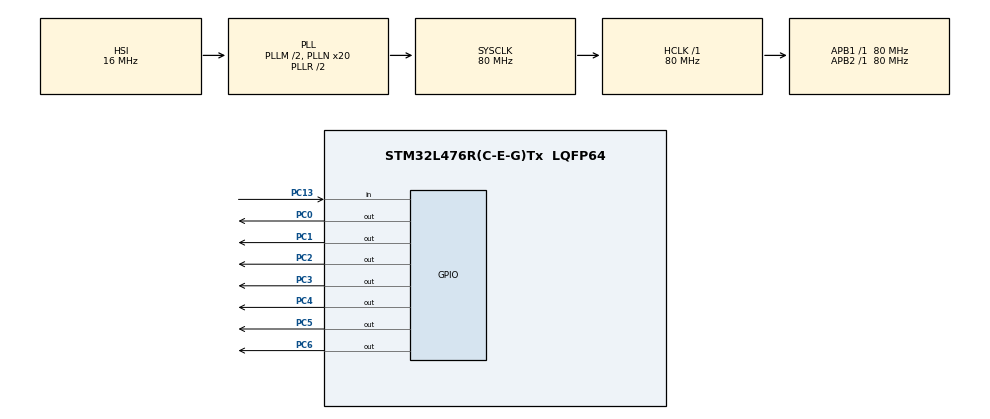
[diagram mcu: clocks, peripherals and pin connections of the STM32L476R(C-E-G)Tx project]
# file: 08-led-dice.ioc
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Mcu.Family=STM32L4
Mcu.Name=STM32L476R(C-E-G)Tx
Mcu.Package=LQFP64
NVIC.PriorityGroup=NVIC_PRIORITYGROUP_4
PC0.Signal=GPIO_Output
PC1.Signal=GPIO_Output
PC13.Signal=GPIO_Input
PC2.Signal=GPIO_Output
PC3.Signal=GPIO_Output
PC4.Signal=GPIO_Output
PC5.Signal=GPIO_Output
PC6.Signal=GPIO_Output
ProjectManager.HeapSize=0x200
ProjectManager.StackSize=0x400
ProjectManager.TargetToolchain=STM32CubeIDE
RCC.ADCFreq_Value=32000000
RCC.AHBFreq_Value=80000000
RCC.APB1Freq_Value=80000000
RCC.APB1TimFreq_Value=80000000
RCC.APB2Freq_Value=80000000
RCC.APB2TimFreq_Value=80000000
RCC.CortexFreq_Value=80000000
RCC.HCLKFreq_Value=80000000
RCC.HSE_VALUE=8000000
RCC.HSI_VALUE=16000000
RCC.MSI_VALUE=4000000
RCC.PLLM=2
RCC.PLLN=20
RCC.PLLSourceVirtual=RCC_PLLSOURCE_HSI
RCC.PREFETCH_ENABLE=1
RCC.SYSCLKFreq_VALUE=80000000
RCC.SYSCLKSource=RCC_SYSCLKSOURCE_PLLCLK
RCC.USBFreq_Value=32000000
RCC.VCOOutputFreq_Value=160000000
board=NUCLEO-L476RG

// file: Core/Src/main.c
/* USER CODE BEGIN Header */
/**
  ******************************************************************************
  * @file           : main.c
  * @brief          : Main program body
  ******************************************************************************
  * @attention
  *
  * Copyright (c) 2025 STMicroelectronics.
  * All rights reserved.
  *
  * This software is licensed under terms that can be found in the LICENSE file
  * in the root directory of this software component.
  * If no LICENSE file comes with this software, it is provided AS-IS.
  *
  ******************************************************************************
  */
/* USER CODE END Header */
#include "main.h"

/* USER CODE BEGIN Includes */
#include "stdlib.h"
#include "time.h"
/* USER CODE END Includes */

void SystemClock_Config(void);
static void MX_GPIO_Init(void);

/* USER CODE BEGIN 0 */
int LED_Array[] = {led0, led1, led2, led3, led4, led5, led6};

void Reset_All_Leds() {
	for(int i = 0; i < 7; i++){
		HAL_GPIO_WritePin(GPIOC, LED_Array[i], GPIO_PIN_RESET);    //Reset all Leds
	}
}
/* USER CODE END 0 */

int main(void)
{

  /* MCU Configuration--------------------------------------------------------*/

  /* Reset of all peripherals, Initializes the Flash interface and the Systick. */
  HAL_Init();

  /* Configure the system clock */
  SystemClock_Config();

  /* Initialize all configured peripherals */
  MX_GPIO_Init();

  /* Infinite loop */
  /* USER CODE BEGIN WHILE */
  while (1)
  {
    //wait for button pressed
    while(HAL_GPIO_ReadPin(GPIOC, button) == 1) {
      //do nothing
    }

    int dice_number = rand()%6 + 1;    //generate random dice number

    switch(dice_number) {
      case 1:    //number 1
        HAL_GPIO_WritePin(GPIOC, LED_Array[3], GPIO_PIN_SET);
        break;
      case 2:    //number 2
        HAL_GPIO_WritePin(GPIOC, LED_Array[1], GPIO_PIN_SET);
        HAL_GPIO_WritePin(GPIOC, LED_Array[5], GPIO_PIN_SET);
        break;
      case 3:    //number 3
        HAL_GPIO_WritePin(GPIOC, LED_Array[1], GPIO_PIN_SET);
        HAL_GPIO_WritePin(GPIOC, LED_Array[3], GPIO_PIN_SET);
        HAL_GPIO_WritePin(GPIOC, LED_Array[5], GPIO_PIN_SET);
        break;
      case 4:    //number 4
        HAL_GPIO_WritePin(GPIOC, LED_Array[0], GPIO_PIN_SET);
        HAL_GPIO_WritePin(GPIOC, LED_Array[2], GPIO_PIN_SET);
        HAL_GPIO_WritePin(GPIOC, LED_Array[4], GPIO_PIN_SET);
        HAL_GPIO_WritePin(GPIOC, LED_Array[6], GPIO_PIN_SET);
        break;
      case 5:    //number 5
        HAL_GPIO_WritePin(GPIOC, LED_Array[0], GPIO_PIN_SET);
        HAL_GPIO_WritePin(GPIOC, LED_Array[2], GPIO_PIN_SET);
        HAL_GPIO_WritePin(GPIOC, LED_Array[3], GPIO_PIN_SET);
        HAL_GPIO_WritePin(GPIOC, LED_Array[4], GPIO_PIN_SET);
        HAL_GPIO_WritePin(GPIOC, LED_Array[6], GPIO_PIN_SET);
        break;
      case 6:    //number 6
        HAL_GPIO_WritePin(GPIOC, LED_Array[0], GPIO_PIN_SET);
        HAL_GPIO_WritePin(GPIOC, LED_Array[1], GPIO_PIN_SET);
        HAL_GPIO_WritePin(GPIOC, LED_Array[2], GPIO_PIN_SET);
        HAL_GPIO_WritePin(GPIOC, LED_Array[4], GPIO_PIN_SET);
        HAL_GPIO_WritePin(GPIOC, LED_Array[5], GPIO_PIN_SET);
        HAL_GPIO_WritePin(GPIOC, LED_Array[6], GPIO_PIN_SET);
        break;
    }
    HAL_Delay(5000);    //delay
    Reset_All_Leds();    //Reset all Leds
    /* USER CODE END WHILE */

  }
}

void SystemClock_Config(void)
{
  RCC_OscInitTypeDef RCC_OscInitStruct = {0};
  RCC_ClkInitTypeDef RCC_ClkInitStruct = {0};

  /** Configure the main internal regulator output voltage
  */
  if (HAL_PWREx_ControlVoltageScaling(PWR_REGULATOR_VOLTAGE_SCALE1) != HAL_OK)
  {
    Error_Handler();
  }

  /** Initializes the RCC Oscillators according to the specified parameters
  * in the RCC_OscInitTypeDef structure.
  */
  RCC_OscInitStruct.OscillatorType = RCC_OSCILLATORTYPE_HSI;
  RCC_OscInitStruct.HSIState = RCC_HSI_ON;
  RCC_OscInitStruct.HSICalibrationValue = RCC_HSICALIBRATION_DEFAULT;
  RCC_OscInitStruct.PLL.PLLState = RCC_PLL_ON;
  RCC_OscInitStruct.PLL.PLLSource = RCC_PLLSOURCE_HSI;
  RCC_OscInitStruct.PLL.PLLM = 2;
  RCC_OscInitStruct.PLL.PLLN = 20;
  RCC_OscInitStruct.PLL.PLLP = RCC_PLLP_DIV7;
  RCC_OscInitStruct.PLL.PLLQ = RCC_PLLQ_DIV2;
  RCC_OscInitStruct.PLL.PLLR = RCC_PLLR_DIV2;
  if (HAL_RCC_OscConfig(&RCC_OscInitStruct) != HAL_OK)
  {
    Error_Handler();
  }

  /** Initializes the CPU, AHB and APB buses clocks
  */
  RCC_ClkInitStruct.ClockType = RCC_CLOCKTYPE_HCLK|RCC_CLOCKTYPE_SYSCLK
                              |RCC_CLOCKTYPE_PCLK1|RCC_CLOCKTYPE_PCLK2;
  RCC_ClkInitStruct.SYSCLKSource = RCC_SYSCLKSOURCE_PLLCLK;
  RCC_ClkInitStruct.AHBCLKDivider = RCC_SYSCLK_DIV1;
  RCC_ClkInitStruct.APB1CLKDivider = RCC_HCLK_DIV1;
  RCC_ClkInitStruct.APB2CLKDivider = RCC_HCLK_DIV1;

  if (HAL_RCC_ClockConfig(&RCC_ClkInitStruct, FLASH_LATENCY_4) != HAL_OK)
  {
    Error_Handler();
  }
}

static void MX_GPIO_Init(void)
{
  GPIO_InitTypeDef GPIO_InitStruct = {0};

  /* GPIO Ports Clock Enable */
  __HAL_RCC_GPIOC_CLK_ENABLE();

  /*Configure GPIO pin Output Level */
  HAL_GPIO_WritePin(GPIOC, GPIO_PIN_0|GPIO_PIN_1|GPIO_PIN_2|GPIO_PIN_3
                          |GPIO_PIN_4|GPIO_PIN_5|GPIO_PIN_6, GPIO_PIN_RESET);

  /*Configure GPIO pin : PC13 */
  GPIO_InitStruct.Pin = GPIO_PIN_13;
  GPIO_InitStruct.Mode = GPIO_MODE_INPUT;
  GPIO_InitStruct.Pull = GPIO_NOPULL;
  HAL_GPIO_Init(GPIOC, &GPIO_InitStruct);

  /*Configure GPIO pins : PC0 PC1 PC2 PC3
                           PC4 PC5 PC6 */
  GPIO_InitStruct.Pin = GPIO_PIN_0|GPIO_PIN_1|GPIO_PIN_2|GPIO_PIN_3
                          |GPIO_PIN_4|GPIO_PIN_5|GPIO_PIN_6;
  GPIO_InitStruct.Mode = GPIO_MODE_OUTPUT_PP;
  GPIO_InitStruct.Pull = GPIO_NOPULL;
  GPIO_InitStruct.Speed = GPIO_SPEED_FREQ_LOW;
  HAL_GPIO_Init(GPIOC, &GPIO_InitStruct);

}

void Error_Handler(void)
{
  __disable_irq();
  while (1)
  {
  }
}
